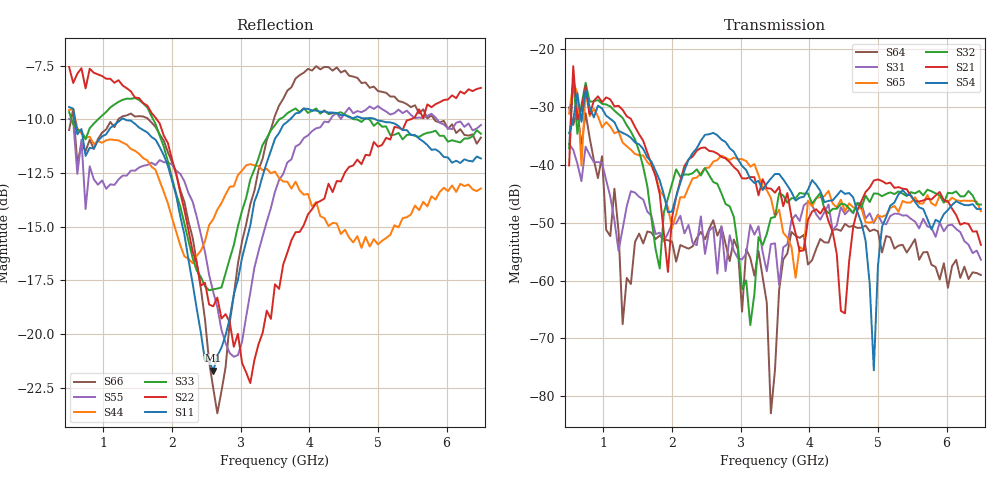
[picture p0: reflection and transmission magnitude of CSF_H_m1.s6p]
!Keysight Technologies,M9804A,MY58100912,A.14.10.03
!Date: Thursday, April 27, 2023 10:28:33
!Correction: S11(C  6-Port  )
!S12(C  6-Port  )
!S13(C  6-Port  )
!S14(C  6-Port  )
!S15(C  6-Port  )
!S16(C  6-Port  )
!S21(C  6-Port  )
!S22(C  6-Port  )
!S23(C  6-Port  )
!S24(C  6-Port  )
!S25(C  6-Port  )
!S26(C  6-Port  )
!S31(C  6-Port  )
!S32(C  6-Port  )
!S33(C  6-Port  )
!S34(C  6-Port  )
!S35(C  6-Port  )
!S36(C  6-Port  )
!S41(C  6-Port  )
!S42(C  6-Port  )
!S43(C  6-Port  )
!S44(C  6-Port  )
!S45(C  6-Port  )
!S46(C  6-Port  )
!S51(C  6-Port  )
!S52(C  6-Port  )
!S53(C  6-Port  )
!S54(C  6-Port  )
!S55(C  6-Port  )
!S56(C  6-Port  )
!S61(C  6-Port  )
!S62(C  6-Port  )
!S63(C  6-Port  )
!S64(C  6-Port  )
!S65(C  6-Port  )
!S66(C  6-Port  )
!S6P File: Measurement: :
# Hz S  RI  R 50
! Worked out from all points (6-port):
!   101 points, 500 MHz to 6.5 GHz, reference 50 ohm
!   strongest paths, dB at 500 MHz, 2 GHz, 3.5 GHz, 5 GHz, 6.5 GHz:
!     S54: -34.5, -48.1, -41.6, -57.4, -47.6
!     S21: -40.1, -49.1, -44.8, -42.5, -53.8
!     S32: -37.1, -43.2, -49.0, -45.0, -46.9
!     S65: -31.1, -50.9, -48.9, -48.8, -48.0
!     S31: -36.4, -50.1, -53.5, -48.6, -56.4
!     S64: -30.0, -53.3, -75.4, -51.5, -59.0
!   lowest |S11| = -21.7 dB at 2.6 GHz (marker M1), VSWR 1.18, Z = 42.7 + j1.99 ohm
!   |S11| at or under -10 dB: 585.3 MHz to 1.259 GHz (674.2 MHz wide, 73.1 % of centre); 1.316 GHz to 3.717 GHz (2.401 GHz wide, 95.4 % of centre); 4.969 GHz to end of sweep
